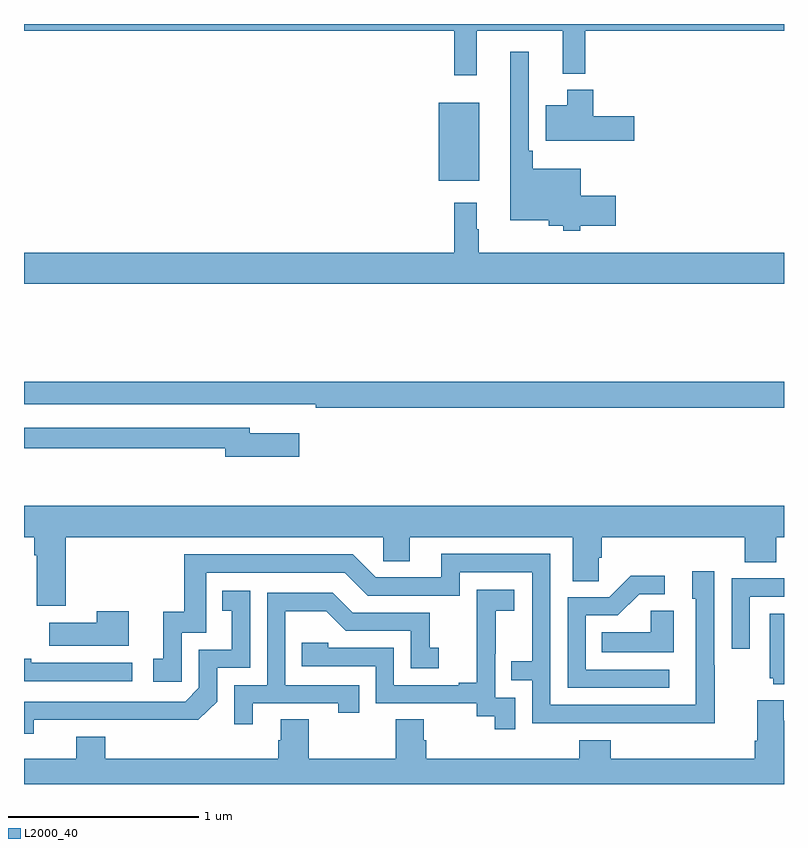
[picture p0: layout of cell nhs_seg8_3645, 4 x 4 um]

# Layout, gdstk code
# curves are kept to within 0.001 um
import gdstk
lib = gdstk.Library(unit=1e-6, precision=1e-09)
def R(c, l, rs):  # rectangles x0, y0, x1, y1
    for r in rs: c.add(gdstk.rectangle(r[:2], r[2:], *l))
def P(c, l, *ps):  # polygons
    for p in ps: c.add(gdstk.Polygon(p, *l))
L2000_40 = (2000, 40)

nhs_seg8_3645 = lib.new_cell('nhs_seg8_3645')
R(nhs_seg8_3645, L2000_40, [(339.182,1085.075,339.397,1085.485)])
P(nhs_seg8_3645, L2000_40, [(339.383,1085.864),(339.836,1085.864),(339.836,1085.639),(339.953,1085.639),(339.953,1085.864),(341,1085.864),(341,1085.9),(337,1085.9),(337,1085.864),(339.265,1085.864),(339.265,1085.631),(339.383,1085.631)],
  [(339.927,1084.838),(340.114,1084.838),(340.114,1084.996),(339.931,1084.996),(339.931,1085.137),(339.677,1085.137),(339.677,1085.233),(339.657,1085.233),(339.657,1085.755),(339.56,1085.755),(339.56,1084.868),(339.761,1084.868),(339.761,1084.838),(339.837,1084.838),(339.837,1084.811),(339.927,1084.811)],
  [(340.213,1085.415),(339.995,1085.415),(339.995,1085.554),(339.86,1085.554),(339.86,1085.473),(339.746,1085.473),(339.746,1085.285),(340.213,1085.285)],
  [(341,1084.696),(339.394,1084.696),(339.394,1084.82),(339.382,1084.82),(339.382,1084.96),(339.265,1084.96),(339.265,1084.696),(337,1084.696),(337,1084.532),(341,1084.532)],
  [(341,1084.016),(337,1084.016),(337,1083.9),(338.284,1083.9),(338.284,1083.899),(338.536,1083.899),(338.536,1083.88),(341,1083.88)],
  [(338.449,1083.745),(338.188,1083.745),(338.188,1083.774),(337,1083.774),(337,1083.666),(338.06,1083.666),(338.06,1083.623),(338.449,1083.623)],
  [(337.22,1083.2),(338.892,1083.2),(338.892,1083.073),(339.031,1083.073),(339.031,1083.2),(339.887,1083.2),(339.887,1082.968),(340.026,1082.968),(340.026,1083.091),(340.04,1083.091),(340.04,1083.2),(340.793,1083.2),(340.793,1083.067),(340.958,1083.067),(340.958,1083.2),(341,1083.2),(341,1083.364),(337,1083.364),(337,1083.2),(337.055,1083.2),(337.055,1083.104),(337.067,1083.104),(337.067,1082.838),(337.22,1082.838)],
  [(340.635,1082.525),(340.632,1082.525),(340.632,1083.019),(340.517,1083.019),(340.517,1082.874),(340.536,1082.874),(340.536,1082.316),(339.771,1082.316),(339.771,1083.111),(339.197,1083.111),(339.197,1082.988),(338.85,1082.988),(338.73,1083.108),(337.843,1083.108),(337.843,1082.806),(337.733,1082.806),(337.733,1082.559),(337.68,1082.559),(337.68,1082.439),(337.83,1082.439),(337.83,1082.697),(337.959,1082.697),(337.959,1083.012),(338.688,1083.012),(338.808,1082.892),(339.294,1082.892),(339.294,1083.015),(339.675,1083.015),(339.675,1082.546),(339.565,1082.546),(339.565,1082.445),(339.675,1082.445),(339.675,1082.22),(340.635,1082.219)],
  [(340.396,1082.502),(339.957,1082.502),(339.957,1082.787),(340.126,1082.787),(340.237,1082.898),(340.372,1082.898),(340.372,1082.996),(340.193,1082.996),(340.08,1082.883),(339.861,1082.883),(339.861,1082.406),(340.396,1082.406)],
  [(340.821,1082.886),(341,1082.886),(341,1082.982),(340.725,1082.982),(340.725,1082.613),(340.821,1082.613)],
  [(339.585,1082.355),(339.48,1082.355),(339.48,1082.585),(339.482,1082.585),(339.482,1082.813),(339.58,1082.813),(339.58,1082.923),(339.382,1082.923),(339.382,1082.717),(339.383,1082.717),(339.383,1082.434),(339.287,1082.434),(339.287,1082.421),(338.946,1082.421),(338.946,1082.616),(338.601,1082.616),(338.601,1082.643),(338.461,1082.643),(338.461,1082.52),(338.85,1082.52),(338.85,1082.325),(339.384,1082.325),(339.384,1082.257),(339.477,1082.257),(339.477,1082.187),(339.585,1082.187)],
  [(337.05,1082.238),(337.918,1082.237),(338.016,1082.334),(338.016,1082.511),(338.19,1082.511),(338.19,1082.917),(338.044,1082.917),(338.044,1082.811),(338.093,1082.811),(338.093,1082.607),(337.92,1082.607),(337.92,1082.406),(337.848,1082.334),(337,1082.334),(337,1082.165),(337.05,1082.165)],
  [(338.203,1082.325),(338.654,1082.325),(338.654,1082.274),(338.765,1082.274),(338.765,1082.421),(338.376,1082.421),(338.376,1082.81),(338.59,1082.81),(338.694,1082.706),(339.036,1082.706),(339.036,1082.508),(339.184,1082.508),(339.184,1082.617),(339.135,1082.617),(339.135,1082.802),(338.731,1082.802),(338.626,1082.907),(338.28,1082.907),(338.28,1082.421),(338.106,1082.421),(338.106,1082.214),(338.203,1082.214)],
  [(340.42,1082.813),(340.299,1082.813),(340.299,1082.698),(340.042,1082.698),(340.042,1082.594),(340.42,1082.594)],
  [(337.552,1082.809),(337.382,1082.809),(337.382,1082.749),(337.133,1082.749),(337.133,1082.627),(337.552,1082.627)],
  [(341,1082.797),(340.925,1082.797),(340.925,1082.457),(340.943,1082.457),(340.943,1082.426),(341,1082.426)],
  [(337.57,1082.538),(337.037,1082.538),(337.037,1082.558),(337,1082.558),(337,1082.442),(337.57,1082.442)],
  [(341,1082.234),(340.999,1082.234),(340.999,1082.341),(340.859,1082.341),(340.859,1082.128),(340.847,1082.128),(340.847,1082.032),(340.088,1082.032),(340.088,1082.131),(339.923,1082.131),(339.923,1082.032),(339.116,1082.032),(339.116,1082.13),(339.103,1082.13),(339.103,1082.24),(338.956,1082.24),(338.956,1082.032),(338.499,1082.032),(338.499,1082.24),(338.351,1082.24),(338.351,1082.13),(338.339,1082.13),(338.339,1082.032),(337.427,1082.032),(337.427,1082.149),(337.274,1082.149),(337.274,1082.032),(337,1082.032),(337,1081.9),(341,1081.9)])

lib.write_gds('nhs_seg8_3645.gds')
